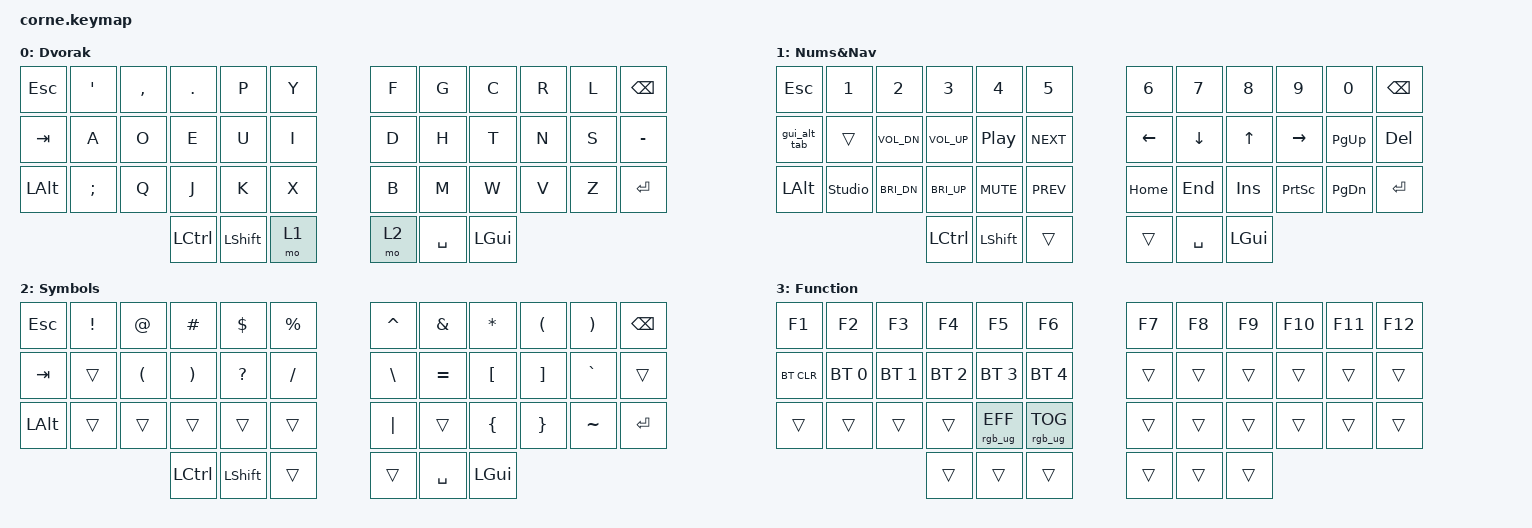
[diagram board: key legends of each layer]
/*
* Copyright (c) 2020 The ZMK Contributors
*
* SPDX-License-Identifier: MIT
*/

#include <behaviors.dtsi>
#include <dt-bindings/zmk/keys.h>
#include <dt-bindings/zmk/bt.h>
#include <dt-bindings/zmk/rgb.h>
#include <dt-bindings/led/led.h>

&pinctrl {
    spi3_default: spi3_default {
        group1 {
            psels = <NRF_PSEL(SPIM_MOSI, 1, 6)>;
        };
    };

    spi3_sleep: spi3_sleep {
        group1 {
            psels = <NRF_PSEL(SPIM_MOSI, 1, 6)>;
            low-power-enable;
        };
    };
};

&spi3 {
    compatible = "nordic,nrf-spim";
    status = "okay";

    pinctrl-0 = <&spi3_default>;
    pinctrl-1 = <&spi3_sleep>;
    pinctrl-names = "default", "sleep";

    led_strip: ws2812@0 {
        compatible = "worldsemi,ws2812-spi";

        /* SPI */
        reg = <0>; /* ignored, but necessary for SPI bindings */
        spi-max-frequency = <4000000>;

        /* WS2812 */
        chain-length = <27>; /* arbitrary; change at will */
        spi-one-frame = <0x70>;
        spi-zero-frame = <0x40>;

        color-mapping = <LED_COLOR_ID_GREEN LED_COLOR_ID_RED LED_COLOR_ID_BLUE>;
    };
};

/ {
    chosen {
        zmk,underglow = &led_strip;
    };
};

/ {
        keymap {
                compatible = "zmk,keymap";

                base_layer {
                        display-name = "Dvorak";
                        // -----------------------------------------------------------------------------------------
                        // | ESC  |  '  |  ,  |  .  |  P  |  Y  |   |  F  |  G  |  C  |  R  |  L  | BSPC |
                        // | TAB  |  A  |  O  |  E  |  U  |  I  |   |  D  |  H  |  T  |  N  |  S  |  -  |
                        // | ALT  |  ;  |  Q  |  J  |  K  |  X  |   |  B  |  M  |  W  |  V  |  Z  | RET |
                        //               | CTRL | SHIFT | MO(1) |   | MO(2) | SPACE | GUI |

                        bindings = <
                                &kp ESC   &kp SQT  &kp COMMA &kp DOT   &kp P     &kp Y  &kp F  &kp G     &kp C    &kp R &kp L &kp BSPC
                                &kp TAB   &kp A    &kp O     &kp E     &kp U     &kp I  &kp D  &kp H     &kp T    &kp N &kp S &kp MINUS
                                &kp LALT  &kp SEMI &kp Q     &kp J     &kp K     &kp X  &kp B  &kp M     &kp W    &kp V &kp Z &kp RET
                                                             &kp LCTRL &kp LSHFT &mo 1  &mo 2  &kp SPACE &kp LGUI
                        >;
                };

                numbers_and_arrows {
                        display-name = "Nums&Nav";
                        // -----------------------------------------------------------------------------------------
                        // | ESC  |  1  |  2  |  3  |  4  |  5  |   |  6  |  7  |  8  |  9  |  0  | BSPC |
                        // | TAB  | PIP |VOL D|VOL U| ▶/⏸ |  ⏩ |   | LFT | DWN |  UP | RGT |PgDn | DEL  |
                        // | ALT  | UNLK|  🔅 | 🔆  | 🔇  |  ⏪ |   |HOME | END | INS |PrtSc|PgUp | RET  |
                        //                | CTRL | SHIFT  |     |   |     | SPACE | GUI |

                        bindings = <
                                &kp ESC    &kp N1         &kp N2         &kp N3        &kp N4       &kp N5         &kp N6    &kp N7     &kp N8    &kp N9     &kp N0    &kp BSPC
                                &gui_alt_tab    &trans         &kp C_VOL_DN   &kp C_VOL_UP  &kp C_PP     &kp C_NEXT     &kp LEFT  &kp DOWN   &kp UP    &kp RIGHT  &kp PG_UP &kp DEL
                                &kp LALT   &studio_unlock &kp C_BRI_DN   &kp C_BRI_UP  &kp C_MUTE   &kp C_PREV     &kp HOME  &kp END    &kp INS   &kp PSCRN  &kp PG_DN &kp RET
                                                                         &kp LCTRL     &kp LSHFT    &trans         &trans    &kp SPACE  &kp LGUI
                        >;
                };

                Symbols {
                        display-name = "Symbols";
                        // -----------------------------------------------------------------------------------------
                        // | ESC  |  !  |  @  |  #  |  $  |  %  |   |  ^  |  &  |  *  |  (  |  )  | BSPC |
                        // | TAB  |     |  (  |  )  |  ?  |  /  |   |  \  |  =  |  [  |  ]  |  `  |      |
                        // | ALT  |     |     |     |     |     |   |  |  |     |  {  |  }  |  ~  |  RET |
                        //                | CTRL | SHIFT  |     |   |     | SPACE | GUI |

                        bindings = <
                                &kp ESC   &kp EXCL  &kp AT     &kp HASH   &kp DLLR      &kp PRCNT   &kp CARET &kp AMPS    &kp ASTRK &kp LPAR &kp RPAR  &kp BSPC
                                &kp TAB   &trans    &kp LPAR   &kp RPAR   &kp QMARK     &kp FSLH    &kp BSLH  &kp EQUAL   &kp LBKT  &kp RBKT &kp GRAVE &trans
                                &kp LALT  &trans    &trans     &trans     &trans        &trans      &kp PIPE  &trans      &kp LBRC  &kp RBRC &kp TILDE &kp RET
                                                               &kp LCTRL  &kp LSHFT     &trans      &trans    &kp SPACE   &kp LGUI
                        >;
                };

                function_keys {
                        display-name = "Function";
                        // -----------------------------------------------------------------------------------------
                        // | F1   |  F2    |  F3    |  F4    |  F5    |  F6    |   |  F7 |  F8 |  F9 | F10 | F11 |  F12 |
                        // |BT_CLR|BT_SEL 0|BT_SEL 1|BT_SEL 2|BT_SEL 3|BT_SEL 4|   |     |     |     |     |     |      |
                        // |      |        |        |        |        |        |   |     |     |     |     |     |      |
                        //                 |        |        |        |        |   |     |     |

                        bindings = <
                                &kp F1     &kp F2       &kp F3       &kp F4       &kp F5          &kp F6            &kp F7   &kp F8   &kp F9    &kp F10  &kp F11   &kp F12
                                &bt BT_CLR &bt BT_SEL 0 &bt BT_SEL 1 &bt BT_SEL 2 &bt BT_SEL 3    &bt BT_SEL 4      &trans   &trans   &trans    &trans   &trans    &trans
                                &trans     &trans       &trans       &trans       &rgb_ug RGB_EFF &rgb_ug RGB_TOG   &trans   &trans   &trans    &trans   &trans    &trans
                                                                     &trans       &trans          &trans            &trans   &trans   &trans
                        >;
                };
        };
        conditional_layers {
                compatible = "zmk,conditional-layers";

                fn_when_mo1_mo2 {
                        if-layers = <1 2>;
                        then-layer = <3>;
                };
        };
        macros {
                alt_tab_macro: alt_tab_macro {
                        compatible = "zmk,behavior-macro";
                        #binding-cells = <0>;
                        bindings = <&macro_press &kp LALT>, <&macro_tap &kp TAB>;
                };
        };
        behaviors {
                gui_alt_tab: gui_alt_tab {
                        compatible = "zmk,behavior-mod-morph";
                        #binding-cells = <0>;
                        bindings = <&kp TAB>, <&alt_tab_macro>;
                        mods = <(MOD_LGUI|MOD_RGUI)>;
                        keep-mods = <0>; 
                };
        };
};
